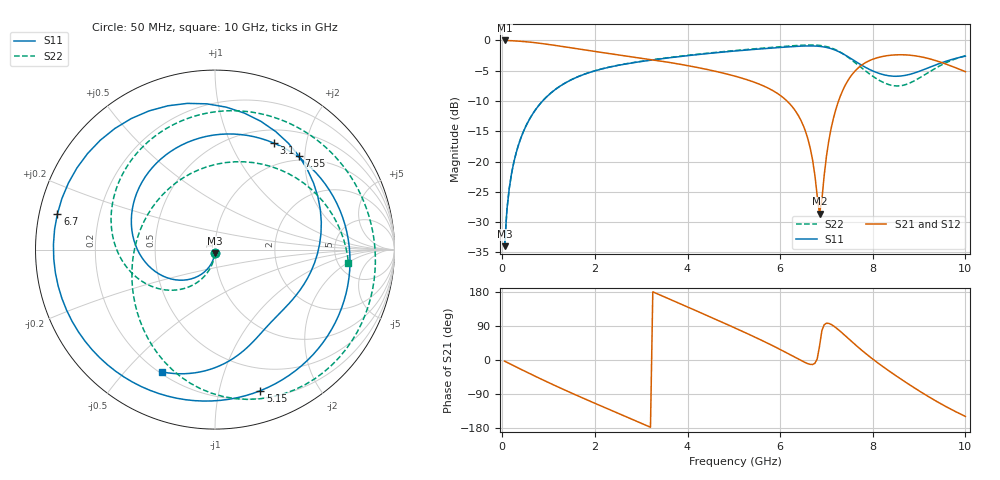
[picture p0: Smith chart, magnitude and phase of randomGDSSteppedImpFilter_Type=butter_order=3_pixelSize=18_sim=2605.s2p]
! freq	dB(S11)	phase(S11)	dB(S12)	phase(S12)
!  dB(S21)	phase(S21)	dB(S22)	phase(S22)
!S-par simulation data
#  GHz  S  DB  R 50
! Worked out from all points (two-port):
!   200 points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, 50 MHz to 10 GHz, reference 50 ohm
!   highest |S21| = 0.00 dB at 50 MHz (marker M1); lowest = -28.6 dB at 6.85 GHz (marker M2)
!   |S21| within 3 dB of the highest: start of sweep to 3.076 GHz; 8.037 GHz to 9.211 GHz (1.174 GHz wide, 13.6 % of centre)
!   lowest |S11| = -34.0 dB at 50 MHz (marker M3), VSWR 1.04, Z = 49.8 - j1.99 ohm
!   |S11| at or under -10 dB: start of sweep to 871 MHz
!   |S22| runs from -33.9 to -0.8 dB; largest |S21 - S12| = 0
!   S11 on the Smith chart (normalised r, x): 50 MHz: 1.00, -0.04; 3.1 GHz: 0.67, +1.48; 5.15 GHz: 0.27, -1.34; 6.7 GHz: 0.05, +0.11; 7.55 GHz: 0.92, +1.88; 10 GHz: 0.21, -0.64
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0.05  -33.97 -93.4  -0.00 -3.1  -0.00 -3.1  -33.95 -92.6
0.2  -21.98 -104.6  -0.05 -12.3  -0.05 -12.3  -21.97 -100.8
0.5  -14.31 -125.7  -0.21 -30.4  -0.21 -30.4  -14.29 -116.3
1.1  -8.36 -166.5  -0.77 -65.3  -0.77 -65.3  -8.35 -145.4
1.75  -5.65 150.5  -1.53 -101.0  -1.53 -101.0  -5.63 -173.8
2.5  -4.12 101.1  -2.38 -140.6  -2.38 -140.6  -4.09 156.4
3.1  -3.37 60.9  -3.03 -172.2  -3.03 -172.2  -3.33 133.6
3.4  -3.06 40.8  -3.38 171.9  -3.38 171.9  -3.02 122.0
4.2  -2.35 -11.9  -4.45 129.2  -4.45 129.2  -2.29 89.9
5.05  -1.73 -65.8  -5.95 83.1  -5.95 83.1  -1.65 52.1
5.15  -1.66 -72.1  -6.17 77.6  -6.17 77.6  -1.58 47.4
5.95  -1.19 -125.5  -8.79 30.9  -8.79 30.9  -1.07 6.6
6.45  -0.94 -166.9  -13.22 -1.3  -13.22 -1.3  -0.80 -23.3
6.7  -0.91 167.2  -19.72 -11.8  -19.72 -11.8  -0.76 -40.7
6.85  -0.98 149.4  -28.59 36.3  -28.59 36.3  -0.82 -52.3
7.2  -1.63 100.7  -11.45 85.7  -11.45 85.7  -1.54 -82.4
7.55  -3.10 48.0  -5.66 48.2  -5.66 48.2  -3.26 -114.0
7.95  -4.87 -2.5  -3.26 7.1  -3.26 7.1  -5.65 -150.4
8.35  -5.84 -35.9  -2.48 -28.9  -2.48 -28.9  -7.30 165.9
8.75  -5.70 -56.7  -2.41 -61.9  -2.41 -61.9  -7.19 114.1
9.15  -4.67 -73.9  -2.89 -92.7  -2.89 -92.7  -5.52 66.3
10  -2.59 -113.3  -5.16 -148.8  -5.16 -148.8  -2.54 -5.6
